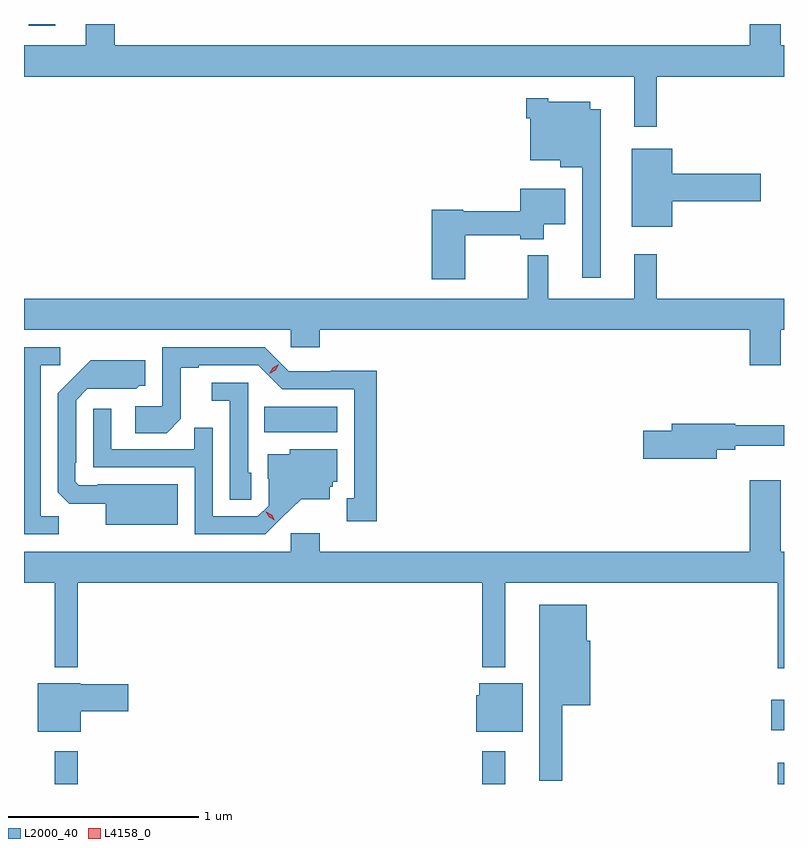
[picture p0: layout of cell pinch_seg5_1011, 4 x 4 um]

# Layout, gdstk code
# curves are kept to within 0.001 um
import gdstk
lib = gdstk.Library(unit=1e-6, precision=1e-09)
def R(c, l, rs):  # rectangles x0, y0, x1, y1
    for r in rs: c.add(gdstk.rectangle(r[:2], r[2:], *l))
def P(c, l, *ps):  # polygons
    for p in ps: c.add(gdstk.Polygon(p, *l))
L2000_40 = (2000, 40)
L4158_0 = (4158, 0)

pinch_seg5_1011 = lib.new_cell('pinch_seg5_1011')
R(pinch_seg5_1011, L2000_40, [(712.799,841.049,712.921,841.222), (715.05,841.049,715.171,841.222), (716.604,841.049,716.637,841.162), (716.57,841.331,716.637,841.492), (713.902,842.9,714.286,843.034), (712.661,845.04,712.801,845.049)])
P(pinch_seg5_1011, L2000_40, [(715.967,844.772),(716.637,844.772),(716.637,844.936),(716.62,844.936),(716.62,845.049),(716.456,845.049),(716.456,844.936),(713.114,844.936),(713.114,845.049),(712.961,845.049),(712.961,844.936),(712.637,844.936),(712.637,844.772),(715.849,844.772),(715.849,844.509),(715.967,844.509)],
  [(715.672,844.6),(715.618,844.6),(715.618,844.639),(715.395,844.639),(715.395,844.657),(715.28,844.657),(715.28,844.553),(715.301,844.553),(715.301,844.331),(715.46,844.331),(715.46,844.295),(715.575,844.295),(715.575,843.714),(715.672,843.714)],
  [(716.05,844.115),(716.515,844.115),(716.515,844.262),(716.05,844.262),(716.05,844.393),(715.835,844.393),(715.835,843.983),(716.05,843.983)],
  [(714.96,843.936),(715.25,843.936),(715.25,843.917),(715.372,843.917),(715.372,843.995),(715.486,843.995),(715.486,844.183),(715.25,844.183),(715.25,844.064),(714.948,844.064),(714.948,844.072),(714.782,844.072),(714.782,843.705),(714.96,843.705)],
  [(716.62,843.44),(716.637,843.44),(716.637,843.604),(715.967,843.604),(715.967,843.838),(715.85,843.838),(715.85,843.604),(715.397,843.604),(715.397,843.832),(715.287,843.832),(715.287,843.604),(712.637,843.604),(712.637,843.44),(714.042,843.44),(714.042,843.347),(714.194,843.347),(714.194,843.44),(716.456,843.44),(716.456,843.252),(716.62,843.252)],
  [(712.821,842.459),(712.725,842.459),(712.725,843.252),(712.828,843.252),(712.828,843.348),(712.637,843.348),(712.637,842.364),(712.821,842.364)],
  [(714.493,843.224),(714.252,843.224),(714.252,843.222),(714.03,843.222),(713.904,843.348),(713.364,843.348),(713.364,843.036),(713.223,843.036),(713.223,842.896),(713.387,842.896),(713.463,842.972),(713.463,843.24),(713.557,843.24),(713.557,843.252),(713.871,843.252),(713.997,843.126),(714.374,843.126),(714.374,842.553),(714.335,842.553),(714.335,842.433),(714.493,842.433)],
  [(713.446,842.626),(713.026,842.626),(713.026,842.622),(712.926,842.622),(712.908,842.64),(712.908,842.74),(712.911,842.74),(712.911,843.069),(712.971,843.129),(713.228,843.128),(713.244,843.144),(713.275,843.144),(713.275,843.28),(712.987,843.28),(712.815,843.106),(712.815,842.584),(712.874,842.525),(713.066,842.525),(713.066,842.414),(713.446,842.414)],
  [(713.832,842.688),(713.817,842.688),(713.817,843.162),(713.625,843.162),(713.625,843.065),(713.721,843.065),(713.721,842.545),(713.832,842.545)],
  [(713.992,842.447),(714.095,842.549),(714.247,842.549),(714.247,842.613),(714.261,842.613),(714.261,842.64),(714.286,842.64),(714.286,842.812),(714.036,842.812),(714.036,842.785),(713.921,842.785),(713.921,842.656),(713.925,842.656),(713.925,842.514),(713.868,842.457),(713.631,842.457),(713.631,842.924),(713.533,842.924),(713.533,842.811),(713.097,842.811),(713.097,843.025),(713.001,843.025),(713.001,842.715),(713.535,842.715),(713.535,842.364),(713.908,842.364)],
  [(716.284,842.809),(716.38,842.809),(716.38,842.828),(716.637,842.828),(716.637,842.938),(716.38,842.938),(716.38,842.945),(716.045,842.945),(716.045,842.909),(715.896,842.909),(715.896,842.762),(716.284,842.762)],
  [(716.637,842.272),(716.62,842.272),(716.62,842.647),(716.456,842.647),(716.456,842.272),(714.194,842.272),(714.194,842.368),(714.042,842.368),(714.042,842.272),(712.637,842.272),(712.637,842.108),(712.799,842.108),(712.799,841.664),(712.921,841.664),(712.921,842.108),(715.05,842.108),(715.05,841.664),(715.171,841.664),(715.171,842.108),(716.604,842.108),(716.604,841.659),(716.637,841.659)],
  [(715.471,841.463),(715.618,841.463),(715.618,841.803),(715.6,841.803),(715.6,841.993),(715.349,841.993),(715.349,841.065),(715.471,841.065)],
  [(715.261,841.579),(715.034,841.579),(715.034,841.515),(715.016,841.515),(715.016,841.325),(715.261,841.325)],
  [(712.936,841.432),(713.185,841.432),(713.185,841.574),(712.932,841.574),(712.932,841.579),(712.709,841.579),(712.709,841.325),(712.936,841.325)])
P(pinch_seg5_1011, L4158_0, [(713.929,843.207),(713.929,843.208),(713.947,843.24),(713.979,843.259),(713.979,843.259),(713.979,843.259),(713.961,843.226),(713.929,843.207)],
  [(713.957,842.437),(713.927,842.453),(713.91,842.482),(713.91,842.483),(713.911,842.483),(713.941,842.467),(713.958,842.438),(713.958,842.437)])

lib.write_gds('pinch_seg5_1011.gds')
